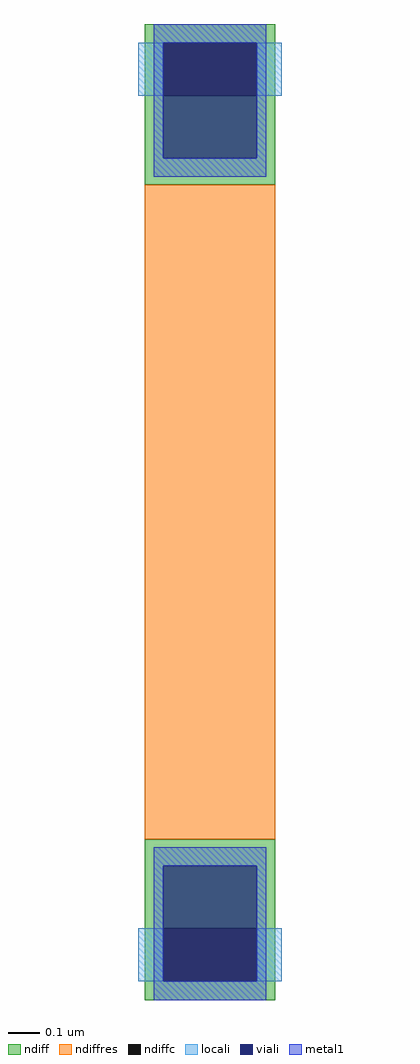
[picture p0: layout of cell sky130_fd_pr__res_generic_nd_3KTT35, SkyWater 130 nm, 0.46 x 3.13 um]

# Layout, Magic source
magic
tech sky130A
magscale 1 2
<< ndiff >>
rect -42 301 42 313
rect -42 267 -30 301
rect 30 267 42 301
rect -42 210 42 267
rect -42 -267 42 -210
rect -42 -301 -30 -267
rect 30 -301 42 -267
rect -42 -313 42 -301
<< ndiffc >>
rect -30 267 30 301
rect -30 -301 30 -267
<< ndiffres >>
rect -42 -210 42 210
<< locali >>
rect -46 267 -30 301
rect 30 267 46 301
rect -46 -301 -30 -267
rect 30 -301 46 -267
<< viali >>
rect -30 267 30 301
rect -30 227 30 267
rect -30 -267 30 -227
rect -30 -301 30 -267
<< metal1 >>
rect -36 301 36 313
rect -36 227 -30 301
rect 30 227 36 301
rect -36 215 36 227
rect -36 -227 36 -215
rect -36 -301 -30 -227
rect 30 -301 36 -227
rect -36 -313 36 -301
<< properties >>
string gencell sky130_fd_pr__res_generic_nd
string library sky130
string parameters w 0.420 l 2.100 m 1 nx 1 wmin 0.42 lmin 2.10 rho 120 val 681.081 dummy 0 dw 0.05 term 0.0 sterm 0.0 caplen 0.4 snake 0 guard 0 glc 1 grc 1 gtc 1 gbc 1 roverlap 0 endcov 100 full_metal 1 vias 1 viagb 0 viagt 0 viagl 0 viagr 0
<< end >>
